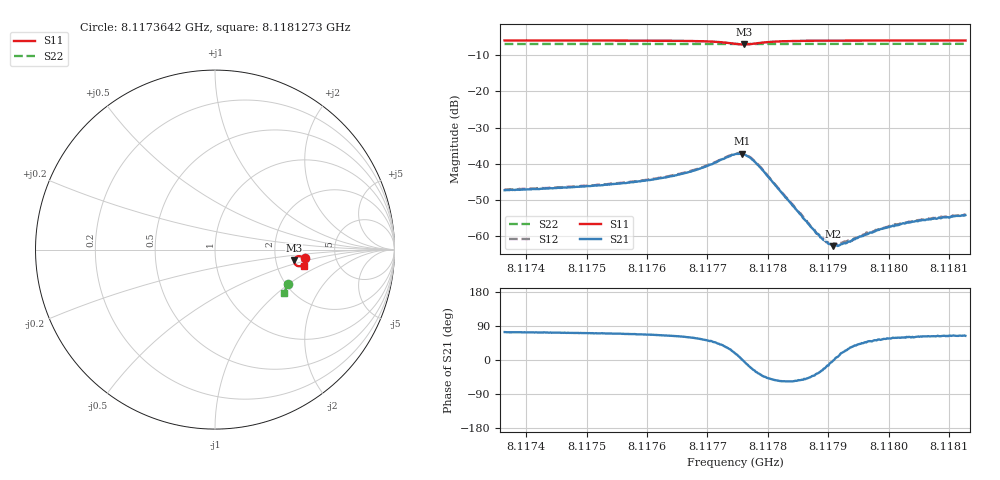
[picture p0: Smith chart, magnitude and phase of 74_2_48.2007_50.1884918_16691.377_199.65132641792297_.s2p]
#  HZ  S  RI  R  50.00
! Rohde & Schwarz Vector Network Analyzer
! Rohde-Schwarz,ZNB20-2Port,1311601062101988,3.16
! Created: UTC 3/20/2024, 11:39:18 AM
! freq[Hz]  re:S11  im:S11  re:S21  im:S21  re:S12  im:S12  re:S22  im:S22
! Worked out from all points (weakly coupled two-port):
!   401 points, 8.1173642 GHz to 8.1181273 GHz, reference 50 ohm
!   highest |S21| = -37.20 dB at 8.1177572 GHz (marker M1); lowest = -62.7 dB at 8.1179079 GHz (marker M2)
!   lowest |S11| = -7.0 dB at 8.117761 GHz (marker M3), VSWR 2.60, Z = 127 - j19.1 ohm
!   |S11| at or under -10 dB: nowhere
!   |S22| runs from -6.9 to -6.9 dB; largest |S21 - S12| = 0.00047
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8.1173642e9  0.5034 -0.046  0.00121 0.00416  0.00132 0.00419  0.4083 -0.1932
8.11749203e9  0.5014 -0.0579  0.00157 0.00459  0.00166 0.00468  0.4045 -0.2015
8.11756643e9  0.4994 -0.066  0.00198 0.00509  0.00203 0.00516  0.4024 -0.2064
8.11761985e9  0.4968 -0.0732  0.00256 0.00573  0.00271 0.00582  0.4007 -0.21
8.11765038e9  0.4939 -0.0784  0.00322 0.00627  0.00337 0.00635  0.3997 -0.2119
8.11768281e9  0.4882 -0.085  0.00452 0.007  0.00471 0.00708  0.3985 -0.2141
8.11774576e9  0.4471 -0.0826  0.0129 0.00418  0.0132 0.00421  0.3947 -0.2171
8.11775721e9  0.4406 -0.0667  0.0138 0.000324  0.014 0.000183  0.3943 -0.217
8.11776103e9  0.4408 -0.0603  0.0133 -0.000973  0.0137 -0.00114  0.3941 -0.2171
8.11777247e9  0.4492 -0.0443  0.0111 -0.00428  0.0112 -0.00453  0.3944 -0.2173
8.11778774e9  0.4672 -0.0365  0.00697 -0.00553  0.00701 -0.00575  0.395 -0.218
8.11782017e9  0.4891 -0.0453  0.00242 -0.00352  0.00245 -0.00359  0.3949 -0.2205
8.11787359e9  0.4974 -0.0602  0.000956 -0.000868  0.000952 -0.000917  0.3934 -0.2245
8.11788313e9  0.4978 -0.062  0.000883 -0.00062  0.000891 -0.000602  0.3931 -0.2251
8.11789839e9  0.4983 -0.0649  0.000794 -0.000212  0.000811 -0.000242  0.3926 -0.2261
8.11790793e9  0.4984 -0.0665  0.00073 -2.79e-05  0.000776 -3.57e-05  0.3924 -0.2268
8.11791937e9  0.4987 -0.0682  0.000733 0.000184  0.000754 0.000211  0.3917 -0.2275
8.11793845e9  0.4988 -0.0711  0.000722 0.000484  0.000711 0.000486  0.3913 -0.2288
8.11796135e9  0.4986 -0.074  0.000718 0.000778  0.000732 0.000754  0.3907 -0.2302
8.11800141e9  0.4984 -0.0787  0.000726 0.00113  0.000809 0.00113  0.3891 -0.2328
8.11804529e9  0.4979 -0.0832  0.000782 0.00143  0.000821 0.00143  0.3877 -0.2355
8.11812732e9  0.4967 -0.0907  0.000864 0.00176  0.000884 0.00179  0.385 -0.2406
